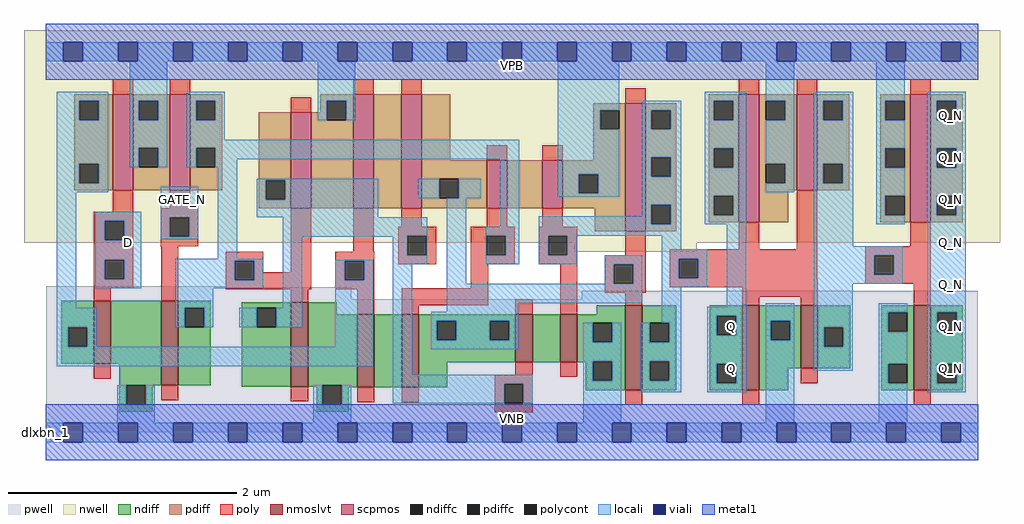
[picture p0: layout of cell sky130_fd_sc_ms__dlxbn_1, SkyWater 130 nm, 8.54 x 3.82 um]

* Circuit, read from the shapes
.subckt sky130_fd_sc_ms__dlxbn_1 D GATE_N VGND VNB VPB VPWR Q Q_N
XM1 VGND D n1 VNB sky130_fd_pr__nfet_01v8_lvt w=0.55 l=0.15
XM2 n2 GATE_N VGND VNB sky130_fd_pr__nfet_01v8_lvt w=0.74 l=0.15
XM3 VGND n2 n3 VNB sky130_fd_pr__nfet_01v8_lvt w=0.74 l=0.15
XM4 n4 n1 VGND VNB sky130_fd_pr__nfet_01v8_lvt w=0.64 l=0.15
XM5 n5 n2 n4 VNB sky130_fd_pr__nfet_01v8_lvt w=0.64 l=0.15
XM6 n6 n3 n5 VNB sky130_fd_pr__nfet_01v8_lvt w=0.42 l=0.15
XM7 VGND n7 n6 VNB sky130_fd_pr__nfet_01v8_lvt w=0.42 l=0.15
XM8 n7 n5 VGND VNB sky130_fd_pr__nfet_01v8_lvt w=0.74 l=0.15
XM9 VGND n7 Q VNB sky130_fd_pr__nfet_01v8_lvt w=0.74 l=0.15
XM10 n8 n7 VGND VNB sky130_fd_pr__nfet_01v8_lvt w=0.55 l=0.15
XM11 Q_N n8 VGND VNB sky130_fd_pr__nfet_01v8_lvt w=0.74 l=0.15
XM12 VPWR D n1 VPB sky130_fd_pr__pfet_01v8 w=0.84 l=0.18
XM13 n2 GATE_N VPWR VPB sky130_fd_pr__pfet_01v8 w=0.84 l=0.18
XM14 VPWR n2 n3 VPB sky130_fd_pr__pfet_01v8 w=0.84 l=0.18
XM15 n9 n1 VPWR VPB sky130_fd_pr__pfet_01v8 w=1 l=0.18
XM16 n5 n3 n9 VPB sky130_fd_pr__pfet_01v8 w=1 l=0.18
XM17 n10 n2 n5 VPB sky130_fd_pr__pfet_01v8 w=0.42 l=0.18
XM18 VPWR n7 n10 VPB sky130_fd_pr__pfet_01v8 w=0.42 l=0.18
XM19 n7 n5 VPWR VPB sky130_fd_pr__pfet_01v8 w=1.12 l=0.18
XM20 VPWR n7 Q VPB sky130_fd_pr__pfet_01v8 w=1.12 l=0.18
XM21 n8 n7 VPWR VPB sky130_fd_pr__pfet_01v8 w=0.84 l=0.18
XM22 Q_N n8 VPWR VPB sky130_fd_pr__pfet_01v8 w=1.12 l=0.18
.ends

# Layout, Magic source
magic
tech sky130A
magscale 1 2
<< nwell >>
rect -38 332 1670 704
rect 925 316 1139 332
<< pwell >>
rect 1 254 315 256
rect 1 233 535 254
rect 938 233 1631 248
rect 1 49 1631 233
rect 0 0 1632 49
<< scpmos >>
rect 117 424 153 592
rect 217 424 253 592
rect 429 392 465 560
rect 538 392 574 592
rect 622 392 658 592
rect 772 392 808 476
rect 869 392 905 476
rect 1014 352 1050 576
rect 1213 368 1249 592
rect 1314 424 1350 592
rect 1513 368 1549 592
<< nmoslvt >>
rect 84 120 114 230
rect 202 82 232 230
rect 429 80 459 228
rect 545 79 575 207
rect 623 79 653 207
rect 822 123 852 207
rect 900 123 930 207
rect 1014 74 1044 222
rect 1219 74 1249 222
rect 1321 112 1351 222
rect 1519 74 1549 222
<< ndiff >>
rect 27 184 84 230
rect 27 150 39 184
rect 73 150 84 184
rect 27 120 84 150
rect 114 120 202 230
rect 129 82 202 120
rect 232 218 289 230
rect 232 184 243 218
rect 277 184 289 218
rect 232 82 289 184
rect 343 218 429 228
rect 343 184 369 218
rect 403 184 429 218
rect 129 48 141 82
rect 175 48 187 82
rect 343 80 429 184
rect 459 207 509 228
rect 964 207 1014 222
rect 459 82 545 207
rect 459 80 484 82
rect 129 36 187 48
rect 474 48 484 80
rect 518 79 545 82
rect 575 79 623 207
rect 653 195 822 207
rect 653 161 684 195
rect 718 161 777 195
rect 811 161 822 195
rect 653 123 822 161
rect 852 123 900 207
rect 930 192 1014 207
rect 930 158 957 192
rect 991 158 1014 192
rect 930 124 1014 158
rect 930 123 957 124
rect 653 79 703 123
rect 518 48 530 79
rect 474 36 530 48
rect 945 90 957 123
rect 991 90 1014 124
rect 945 74 1014 90
rect 1044 192 1103 222
rect 1044 158 1057 192
rect 1091 158 1103 192
rect 1044 124 1103 158
rect 1044 90 1057 124
rect 1091 90 1103 124
rect 1044 74 1103 90
rect 1162 204 1219 222
rect 1162 170 1174 204
rect 1208 170 1219 204
rect 1162 120 1219 170
rect 1162 86 1174 120
rect 1208 86 1219 120
rect 1162 74 1219 86
rect 1249 195 1321 222
rect 1249 161 1269 195
rect 1303 161 1321 195
rect 1249 112 1321 161
rect 1351 184 1408 222
rect 1351 150 1362 184
rect 1396 150 1408 184
rect 1351 112 1408 150
rect 1462 210 1519 222
rect 1462 176 1474 210
rect 1508 176 1519 210
rect 1462 120 1519 176
rect 1249 74 1299 112
rect 1462 86 1474 120
rect 1508 86 1519 120
rect 1462 74 1519 86
rect 1549 210 1605 222
rect 1549 176 1560 210
rect 1594 176 1605 210
rect 1549 120 1605 176
rect 1549 86 1560 120
rect 1594 86 1605 120
rect 1549 74 1605 86
<< pdiff >>
rect 50 580 117 592
rect 50 546 59 580
rect 93 546 117 580
rect 50 470 117 546
rect 50 436 59 470
rect 93 436 117 470
rect 50 424 117 436
rect 153 580 217 592
rect 153 546 163 580
rect 197 546 217 580
rect 153 498 217 546
rect 153 464 163 498
rect 197 464 217 498
rect 153 424 217 464
rect 253 580 309 592
rect 253 546 263 580
rect 297 546 309 580
rect 480 580 538 592
rect 480 560 492 580
rect 253 498 309 546
rect 253 464 263 498
rect 297 464 309 498
rect 253 424 309 464
rect 373 441 429 560
rect 373 407 385 441
rect 419 407 429 441
rect 373 392 429 407
rect 465 546 492 560
rect 526 546 538 580
rect 465 392 538 546
rect 574 392 622 592
rect 658 476 708 592
rect 1160 580 1213 592
rect 958 564 1014 576
rect 958 530 970 564
rect 1004 530 1014 564
rect 958 476 1014 530
rect 658 444 772 476
rect 658 410 689 444
rect 723 410 772 444
rect 658 392 772 410
rect 808 392 869 476
rect 905 452 1014 476
rect 905 418 933 452
rect 967 418 1014 452
rect 905 392 1014 418
rect 961 352 1014 392
rect 1050 564 1103 576
rect 1050 530 1060 564
rect 1094 530 1103 564
rect 1050 481 1103 530
rect 1050 447 1060 481
rect 1094 447 1103 481
rect 1050 398 1103 447
rect 1050 364 1060 398
rect 1094 364 1103 398
rect 1160 546 1169 580
rect 1203 546 1213 580
rect 1160 497 1213 546
rect 1160 463 1169 497
rect 1203 463 1213 497
rect 1160 414 1213 463
rect 1160 380 1169 414
rect 1203 380 1213 414
rect 1160 368 1213 380
rect 1249 580 1314 592
rect 1249 546 1260 580
rect 1294 546 1314 580
rect 1249 470 1314 546
rect 1249 436 1260 470
rect 1294 436 1314 470
rect 1249 424 1314 436
rect 1350 580 1406 592
rect 1350 546 1361 580
rect 1395 546 1406 580
rect 1350 470 1406 546
rect 1350 436 1361 470
rect 1395 436 1406 470
rect 1350 424 1406 436
rect 1460 580 1513 592
rect 1460 546 1469 580
rect 1503 546 1513 580
rect 1460 497 1513 546
rect 1460 463 1469 497
rect 1503 463 1513 497
rect 1249 368 1299 424
rect 1050 352 1103 364
rect 1460 414 1513 463
rect 1460 380 1469 414
rect 1503 380 1513 414
rect 1460 368 1513 380
rect 1549 580 1605 592
rect 1549 546 1559 580
rect 1593 546 1605 580
rect 1549 497 1605 546
rect 1549 463 1559 497
rect 1593 463 1605 497
rect 1549 414 1605 463
rect 1549 380 1559 414
rect 1593 380 1605 414
rect 1549 368 1605 380
<< ndiffc >>
rect 39 150 73 184
rect 243 184 277 218
rect 369 184 403 218
rect 141 48 175 82
rect 484 48 518 82
rect 684 161 718 195
rect 777 161 811 195
rect 957 158 991 192
rect 957 90 991 124
rect 1057 158 1091 192
rect 1057 90 1091 124
rect 1174 170 1208 204
rect 1174 86 1208 120
rect 1269 161 1303 195
rect 1362 150 1396 184
rect 1474 176 1508 210
rect 1474 86 1508 120
rect 1560 176 1594 210
rect 1560 86 1594 120
<< pdiffc >>
rect 59 546 93 580
rect 59 436 93 470
rect 163 546 197 580
rect 163 464 197 498
rect 263 546 297 580
rect 263 464 297 498
rect 385 407 419 441
rect 492 546 526 580
rect 970 530 1004 564
rect 689 410 723 444
rect 933 418 967 452
rect 1060 530 1094 564
rect 1060 447 1094 481
rect 1060 364 1094 398
rect 1169 546 1203 580
rect 1169 463 1203 497
rect 1169 380 1203 414
rect 1260 546 1294 580
rect 1260 436 1294 470
rect 1361 546 1395 580
rect 1361 436 1395 470
rect 1469 546 1503 580
rect 1469 463 1503 497
rect 1469 380 1503 414
rect 1559 546 1593 580
rect 1559 463 1593 497
rect 1559 380 1593 414
<< poly >>
rect 117 592 153 618
rect 217 592 253 618
rect 538 592 574 618
rect 622 592 658 618
rect 429 560 465 586
rect 117 386 153 424
rect 217 392 253 424
rect 1014 576 1050 602
rect 1213 592 1249 618
rect 1314 592 1350 618
rect 1513 592 1549 618
rect 772 476 808 502
rect 869 476 905 502
rect 84 370 153 386
rect 84 336 103 370
rect 137 336 153 370
rect 84 302 153 336
rect 201 376 267 392
rect 201 342 217 376
rect 251 342 267 376
rect 201 326 267 342
rect 84 268 103 302
rect 137 268 153 302
rect 84 252 153 268
rect 84 230 114 252
rect 202 230 232 326
rect 315 300 381 316
rect 315 266 331 300
rect 365 280 381 300
rect 429 280 465 392
rect 538 316 574 392
rect 622 360 658 392
rect 772 360 808 392
rect 869 360 905 392
rect 617 344 683 360
rect 365 266 465 280
rect 315 250 465 266
rect 507 300 575 316
rect 507 266 523 300
rect 557 266 575 300
rect 617 310 633 344
rect 667 310 683 344
rect 617 294 683 310
rect 744 344 821 360
rect 744 310 771 344
rect 805 310 821 344
rect 744 294 821 310
rect 863 344 930 360
rect 863 310 879 344
rect 913 310 930 344
rect 1014 310 1050 352
rect 1213 320 1249 368
rect 1314 320 1350 424
rect 1513 326 1549 368
rect 863 294 930 310
rect 507 250 575 266
rect 744 252 774 294
rect 84 94 114 120
rect 429 228 459 250
rect 202 56 232 82
rect 545 207 575 250
rect 623 222 774 252
rect 623 207 653 222
rect 822 207 852 233
rect 900 207 930 294
rect 978 294 1050 310
rect 978 260 994 294
rect 1028 260 1050 294
rect 978 244 1050 260
rect 1092 304 1350 320
rect 1092 270 1108 304
rect 1142 270 1350 304
rect 1092 267 1350 270
rect 1434 310 1549 326
rect 1434 276 1450 310
rect 1484 276 1549 310
rect 1092 254 1351 267
rect 1434 260 1549 276
rect 1014 222 1044 244
rect 1219 237 1351 254
rect 1219 222 1249 237
rect 1321 222 1351 237
rect 1519 222 1549 260
rect 429 54 459 80
rect 822 101 852 123
rect 786 85 852 101
rect 900 97 930 123
rect 545 53 575 79
rect 623 53 653 79
rect 786 51 802 85
rect 836 51 852 85
rect 1321 86 1351 112
rect 786 35 852 51
rect 1014 48 1044 74
rect 1219 48 1249 74
rect 1519 48 1549 74
<< polycont >>
rect 103 336 137 370
rect 217 342 251 376
rect 103 268 137 302
rect 331 266 365 300
rect 523 266 557 300
rect 633 310 667 344
rect 771 310 805 344
rect 879 310 913 344
rect 994 260 1028 294
rect 1108 270 1142 304
rect 1450 276 1484 310
rect 802 51 836 85
<< locali >>
rect 0 649 31 683
rect 65 649 127 683
rect 161 649 223 683
rect 257 649 319 683
rect 353 649 415 683
rect 449 649 511 683
rect 545 649 607 683
rect 641 649 703 683
rect 737 649 799 683
rect 833 649 895 683
rect 929 649 991 683
rect 1025 649 1087 683
rect 1121 649 1183 683
rect 1217 649 1279 683
rect 1313 649 1375 683
rect 1409 649 1471 683
rect 1505 649 1567 683
rect 1601 649 1632 683
rect 19 580 109 596
rect 19 546 59 580
rect 93 546 109 580
rect 19 470 109 546
rect 19 436 59 470
rect 93 436 109 470
rect 147 580 213 649
rect 147 546 163 580
rect 197 546 213 580
rect 147 498 213 546
rect 147 464 163 498
rect 197 464 213 498
rect 247 580 313 596
rect 247 546 263 580
rect 297 546 313 580
rect 476 580 542 649
rect 476 546 492 580
rect 526 546 542 580
rect 896 564 1004 649
rect 1153 580 1226 596
rect 247 512 313 546
rect 896 530 970 564
rect 247 498 829 512
rect 247 464 263 498
rect 297 478 829 498
rect 297 464 335 478
rect 19 420 109 436
rect 19 218 53 420
rect 87 370 167 386
rect 87 336 103 370
rect 137 336 167 370
rect 201 376 267 430
rect 201 342 217 376
rect 251 342 267 376
rect 201 338 267 342
rect 87 302 167 336
rect 301 304 335 464
rect 369 441 582 444
rect 369 407 385 441
rect 419 407 582 441
rect 652 410 689 444
rect 723 410 761 444
rect 369 376 582 407
rect 415 344 668 376
rect 415 342 633 344
rect 87 268 103 302
rect 137 268 167 302
rect 87 252 167 268
rect 227 300 381 304
rect 227 266 331 300
rect 365 266 381 300
rect 227 252 381 266
rect 227 218 293 252
rect 415 218 449 342
rect 607 310 633 342
rect 667 310 668 344
rect 19 184 89 218
rect 227 184 243 218
rect 277 184 293 218
rect 339 184 369 218
rect 403 184 449 218
rect 507 300 573 302
rect 507 266 523 300
rect 557 266 573 300
rect 19 150 39 184
rect 73 150 89 184
rect 507 150 573 266
rect 19 116 573 150
rect 607 294 668 310
rect 607 101 641 294
rect 702 260 736 410
rect 795 360 829 478
rect 896 452 1004 530
rect 896 418 933 452
rect 967 418 1004 452
rect 896 412 1004 418
rect 1044 564 1112 580
rect 1044 530 1060 564
rect 1094 530 1112 564
rect 1044 481 1112 530
rect 1044 447 1060 481
rect 1094 447 1112 481
rect 1044 398 1112 447
rect 1044 378 1060 398
rect 770 344 829 360
rect 770 310 771 344
rect 805 310 829 344
rect 770 294 829 310
rect 863 364 1060 378
rect 1094 364 1112 398
rect 1153 546 1169 580
rect 1203 546 1226 580
rect 1153 497 1226 546
rect 1153 463 1169 497
rect 1203 463 1226 497
rect 1153 414 1226 463
rect 1260 580 1310 649
rect 1294 546 1310 580
rect 1260 470 1310 546
rect 1294 436 1310 470
rect 1260 420 1310 436
rect 1344 580 1413 596
rect 1344 546 1361 580
rect 1395 546 1413 580
rect 1344 470 1413 546
rect 1344 436 1361 470
rect 1395 436 1413 470
rect 1153 380 1169 414
rect 1203 380 1226 414
rect 1153 364 1226 380
rect 863 344 1112 364
rect 863 310 879 344
rect 913 310 929 344
rect 1078 320 1112 344
rect 863 294 929 310
rect 978 294 1044 310
rect 978 260 994 294
rect 1028 260 1044 294
rect 702 226 1044 260
rect 1078 304 1158 320
rect 1078 270 1108 304
rect 1142 270 1158 304
rect 1078 254 1158 270
rect 702 211 827 226
rect 675 195 827 211
rect 675 161 684 195
rect 718 161 777 195
rect 811 161 827 195
rect 1078 192 1112 254
rect 1192 220 1226 364
rect 1344 326 1413 436
rect 1453 580 1503 649
rect 1453 546 1469 580
rect 1453 497 1503 546
rect 1453 463 1469 497
rect 1453 414 1503 463
rect 1453 380 1469 414
rect 1453 364 1503 380
rect 1543 580 1610 596
rect 1543 546 1559 580
rect 1593 546 1610 580
rect 1543 497 1610 546
rect 1543 463 1559 497
rect 1593 463 1610 497
rect 1543 414 1610 463
rect 1543 380 1559 414
rect 1593 380 1610 414
rect 1344 310 1500 326
rect 1344 276 1450 310
rect 1484 276 1500 310
rect 1344 260 1500 276
rect 675 145 827 161
rect 941 158 957 192
rect 991 158 1007 192
rect 941 124 1007 158
rect 607 85 852 101
rect 125 48 141 82
rect 175 48 191 82
rect 125 17 191 48
rect 468 48 484 82
rect 518 48 535 82
rect 607 51 802 85
rect 836 51 852 85
rect 941 90 957 124
rect 991 90 1007 124
rect 468 17 535 48
rect 941 17 1007 90
rect 1041 158 1057 192
rect 1091 158 1112 192
rect 1041 124 1112 158
rect 1041 90 1057 124
rect 1091 90 1112 124
rect 1041 70 1112 90
rect 1158 204 1226 220
rect 1158 170 1174 204
rect 1208 170 1226 204
rect 1158 120 1226 170
rect 1158 86 1174 120
rect 1208 86 1226 120
rect 1158 70 1226 86
rect 1260 195 1310 226
rect 1260 161 1269 195
rect 1303 161 1310 195
rect 1260 17 1310 161
rect 1344 184 1412 260
rect 1344 150 1362 184
rect 1396 150 1412 184
rect 1344 108 1412 150
rect 1458 210 1508 226
rect 1458 176 1474 210
rect 1458 120 1508 176
rect 1458 86 1474 120
rect 1458 17 1508 86
rect 1543 210 1610 380
rect 1543 176 1560 210
rect 1594 176 1610 210
rect 1543 120 1610 176
rect 1543 86 1560 120
rect 1594 86 1610 120
rect 1543 70 1610 86
rect 0 -17 31 17
rect 65 -17 127 17
rect 161 -17 223 17
rect 257 -17 319 17
rect 353 -17 415 17
rect 449 -17 511 17
rect 545 -17 607 17
rect 641 -17 703 17
rect 737 -17 799 17
rect 833 -17 895 17
rect 929 -17 991 17
rect 1025 -17 1087 17
rect 1121 -17 1183 17
rect 1217 -17 1279 17
rect 1313 -17 1375 17
rect 1409 -17 1471 17
rect 1505 -17 1567 17
rect 1601 -17 1632 17
<< viali >>
rect 31 649 65 683
rect 127 649 161 683
rect 223 649 257 683
rect 319 649 353 683
rect 415 649 449 683
rect 511 649 545 683
rect 607 649 641 683
rect 703 649 737 683
rect 799 649 833 683
rect 895 649 929 683
rect 991 649 1025 683
rect 1087 649 1121 683
rect 1183 649 1217 683
rect 1279 649 1313 683
rect 1375 649 1409 683
rect 1471 649 1505 683
rect 1567 649 1601 683
rect 31 -17 65 17
rect 127 -17 161 17
rect 223 -17 257 17
rect 319 -17 353 17
rect 415 -17 449 17
rect 511 -17 545 17
rect 607 -17 641 17
rect 703 -17 737 17
rect 799 -17 833 17
rect 895 -17 929 17
rect 991 -17 1025 17
rect 1087 -17 1121 17
rect 1183 -17 1217 17
rect 1279 -17 1313 17
rect 1375 -17 1409 17
rect 1471 -17 1505 17
rect 1567 -17 1601 17
<< metal1 >>
rect 0 683 1632 715
rect 0 649 31 683
rect 65 649 127 683
rect 161 649 223 683
rect 257 649 319 683
rect 353 649 415 683
rect 449 649 511 683
rect 545 649 607 683
rect 641 649 703 683
rect 737 649 799 683
rect 833 649 895 683
rect 929 649 991 683
rect 1025 649 1087 683
rect 1121 649 1183 683
rect 1217 649 1279 683
rect 1313 649 1375 683
rect 1409 649 1471 683
rect 1505 649 1567 683
rect 1601 649 1632 683
rect 0 617 1632 649
rect 0 17 1632 49
rect 0 -17 31 17
rect 65 -17 127 17
rect 161 -17 223 17
rect 257 -17 319 17
rect 353 -17 415 17
rect 449 -17 511 17
rect 545 -17 607 17
rect 641 -17 703 17
rect 737 -17 799 17
rect 833 -17 895 17
rect 929 -17 991 17
rect 1025 -17 1087 17
rect 1121 -17 1183 17
rect 1217 -17 1279 17
rect 1313 -17 1375 17
rect 1409 -17 1471 17
rect 1505 -17 1567 17
rect 1601 -17 1632 17
rect 0 -49 1632 -17
<< labels >>
flabel pwell s 0 0 1632 49 0 FreeSans 200 0 0 0 VNB
port 4 nsew ground bidirectional
flabel nwell s 0 617 1632 666 0 FreeSans 200 0 0 0 VPB
port 5 nsew power bidirectional
rlabel comment s 0 0 0 0 4 dlxbn_1
flabel metal1 s 0 617 1632 666 0 FreeSans 340 0 0 0 VPWR
port 6 nsew power bidirectional
flabel metal1 s 0 0 1632 49 0 FreeSans 340 0 0 0 VGND
port 3 nsew ground bidirectional
flabel locali s 127 316 161 350 0 FreeSans 340 0 0 0 D
port 1 nsew signal input
flabel locali s 1567 94 1601 128 0 FreeSans 340 0 0 0 Q_N
port 8 nsew signal output
flabel locali s 1567 168 1601 202 0 FreeSans 340 0 0 0 Q_N
port 8 nsew signal output
flabel locali s 1567 242 1601 276 0 FreeSans 340 0 0 0 Q_N
port 8 nsew signal output
flabel locali s 1567 316 1601 350 0 FreeSans 340 0 0 0 Q_N
port 8 nsew signal output
flabel locali s 1567 390 1601 424 0 FreeSans 340 0 0 0 Q_N
port 8 nsew signal output
flabel locali s 1567 464 1601 498 0 FreeSans 340 0 0 0 Q_N
port 8 nsew signal output
flabel locali s 1567 538 1601 572 0 FreeSans 340 0 0 0 Q_N
port 8 nsew signal output
flabel locali s 1183 94 1217 128 0 FreeSans 340 0 0 0 Q
port 7 nsew signal output
flabel locali s 1183 168 1217 202 0 FreeSans 340 0 0 0 Q
port 7 nsew signal output
flabel locali s 223 390 257 424 0 FreeSans 340 0 0 0 GATE_N
port 2 nsew clock input
<< properties >>
string LEFsite unit
string LEFclass CORE
string FIXED_BBOX 0 0 1632 666
string GDS_FILE $PDKPATH/libs.ref/sky130_fd_sc_ms/gds/sky130_fd_sc_ms.gds
string LEFsymmetry X Y
string GDS_END 3063704
string GDS_START 3051070
<< end >>
